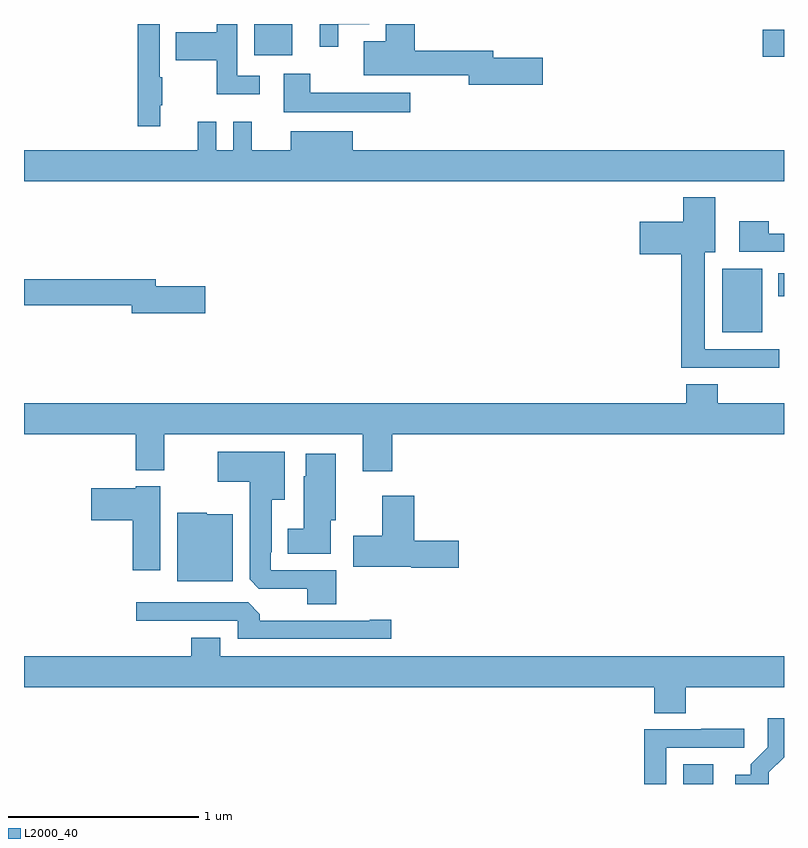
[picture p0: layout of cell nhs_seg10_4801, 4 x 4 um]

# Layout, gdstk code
import gdstk
lib = gdstk.Library(unit=1e-6, precision=1e-09)
def R(c, l, rs):  # rectangles x0, y0, x1, y1
    for r in rs: c.add(gdstk.rectangle(r[:2], r[2:], *l))
def P(c, l, *ps):  # polygons
    for p in ps: c.add(gdstk.Polygon(p, *l))
L2000_40 = (2000, 40)

nhs_seg10_4801 = lib.new_cell('nhs_seg10_4801')
R(nhs_seg10_4801, L2000_40, [(390.47,1274.5,390.628,1274.605), (390.674,1276.877,390.886,1277.212), (390.971,1277.066,391,1277.188), (390.888,1278.328,391,1278.47), (388.211,1278.335,388.411,1278.5)])
P(nhs_seg10_4801, L2000_40, [(388.654,1278.498),(388.816,1278.498),(388.816,1278.5),(388.556,1278.5),(388.556,1278.381),(388.654,1278.381)],
  [(389.731,1278.323),(389.47,1278.323),(389.47,1278.359),(389.057,1278.359),(389.057,1278.5),(388.904,1278.5),(388.904,1278.409),(388.787,1278.409),(388.787,1278.23),(389.14,1278.23),(389.14,1278.231),(389.342,1278.231),(389.342,1278.181),(389.731,1278.181)],
  [(388.24,1278.228),(388.122,1278.228),(388.122,1278.5),(388.014,1278.5),(388.014,1278.457),(387.799,1278.457),(387.799,1278.31),(388.014,1278.31),(388.014,1278.131),(388.24,1278.131)],
  [(387.716,1278.073),(387.727,1278.073),(387.727,1278.221),(387.714,1278.221),(387.714,1278.5),(387.598,1278.5),(387.598,1277.961),(387.716,1277.961)],
  [(389.032,1278.139),(388.507,1278.139),(388.507,1278.238),(388.367,1278.238),(388.367,1278.035),(389.032,1278.035)],
  [(391,1277.836),(388.729,1277.836),(388.729,1277.935),(388.403,1277.935),(388.403,1277.836),(388.199,1277.836),(388.199,1277.986),(388.101,1277.986),(388.101,1277.836),(388.011,1277.836),(388.011,1277.986),(387.914,1277.986),(387.914,1277.836),(387,1277.836),(387,1277.672),(391,1277.672)],
  [(390.976,1276.788),(390.583,1276.788),(390.583,1277.3),(390.637,1277.3),(390.637,1277.587),(390.47,1277.587),(390.47,1277.458),(390.24,1277.458),(390.24,1277.288),(390.458,1277.288),(390.458,1276.691),(390.976,1276.691)],
  [(391,1277.397),(390.921,1277.397),(390.921,1277.461),(390.765,1277.461),(390.765,1277.301),(391,1277.301)],
  [(387.955,1277.12),(387.694,1277.12),(387.694,1277.156),(387,1277.156),(387,1277.02),(387.566,1277.02),(387.566,1276.978),(387.955,1276.978)],
  [(388.937,1276.34),(391,1276.34),(391,1276.504),(390.65,1276.504),(390.65,1276.603),(390.485,1276.603),(390.485,1276.504),(387,1276.504),(387,1276.34),(387.587,1276.34),(387.587,1276.151),(387.739,1276.151),(387.739,1276.34),(388.784,1276.34),(388.784,1276.146),(388.937,1276.146)],
  [(388.643,1275.624),(388.299,1275.624),(388.299,1275.721),(388.303,1275.721),(388.303,1275.995),(388.372,1275.995),(388.372,1276.249),(388.02,1276.249),(388.02,1276.091),(388.187,1276.091),(388.187,1275.577),(388.236,1275.528),(388.49,1275.528),(388.49,1275.445),(388.643,1275.445)],
  [(388.615,1275.888),(388.642,1275.888),(388.642,1276.237),(388.484,1276.237),(388.484,1276.119),(388.472,1276.119),(388.472,1275.844),(388.388,1275.844),(388.388,1275.713),(388.615,1275.713)],
  [(387.718,1276.066),(387.588,1276.066),(387.588,1276.057),(387.354,1276.057),(387.354,1275.887),(387.572,1275.887),(387.572,1275.624),(387.718,1275.624)],
  [(389.287,1275.779),(389.054,1275.779),(389.054,1276.018),(388.886,1276.018),(388.886,1275.807),(388.734,1275.807),(388.734,1275.644),(389.037,1275.644),(389.037,1275.637),(389.287,1275.637)],
  [(388.099,1275.919),(387.963,1275.919),(387.963,1275.928),(387.806,1275.928),(387.806,1275.566),(388.099,1275.566)],
  [(388.933,1275.365),(388.82,1275.365),(388.82,1275.36),(388.241,1275.36),(388.241,1275.394),(388.179,1275.456),(387.591,1275.456),(387.591,1275.36),(388.125,1275.36),(388.125,1275.264),(388.933,1275.264)],
  [(390.482,1275.008),(391,1275.008),(391,1275.172),(388.033,1275.172),(388.033,1275.271),(387.881,1275.271),(387.881,1275.172),(387,1275.172),(387,1275.008),(390.317,1275.008),(390.317,1274.872),(390.482,1274.872)],
  [(390.921,1274.563),(391,1274.642),(391,1274.845),(390.915,1274.845),(390.915,1274.693),(390.824,1274.603),(390.824,1274.548),(390.744,1274.548),(390.744,1274.5),(390.921,1274.5)],
  [(390.381,1274.691),(390.79,1274.691),(390.79,1274.79),(390.565,1274.79),(390.565,1274.787),(390.265,1274.787),(390.265,1274.5),(390.381,1274.5)])

lib.write_gds('nhs_seg10_4801.gds')
